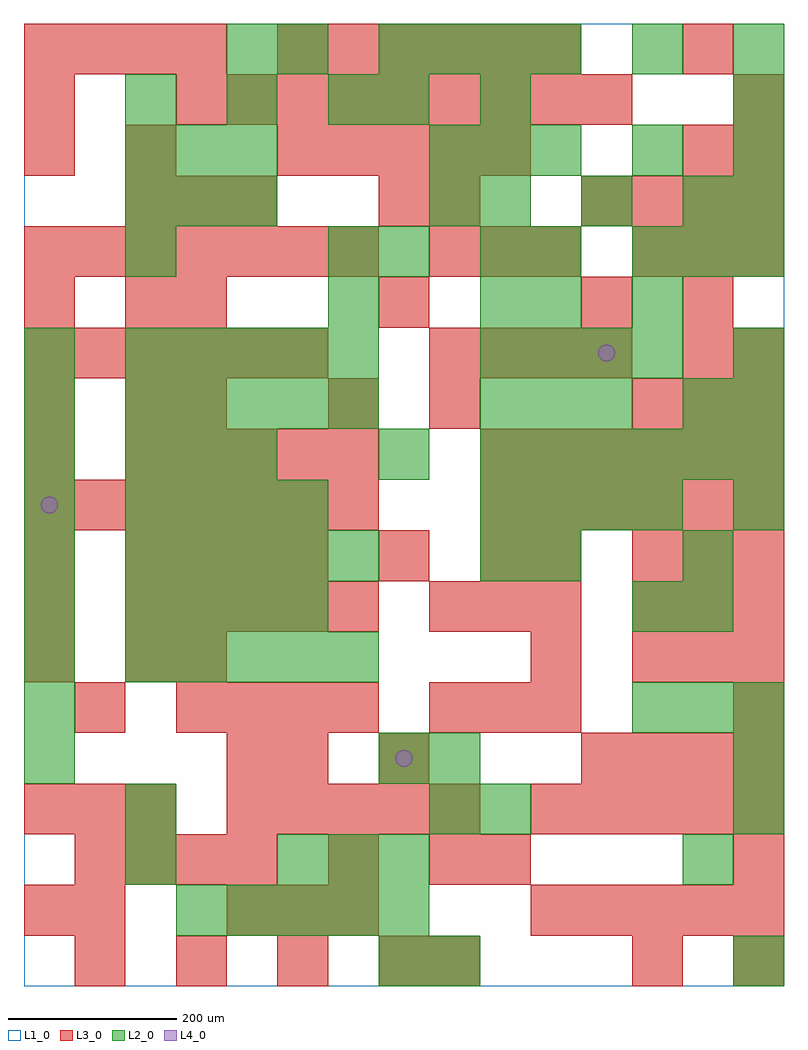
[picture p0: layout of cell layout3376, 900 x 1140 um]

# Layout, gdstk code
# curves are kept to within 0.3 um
import gdstk
lib = gdstk.Library(unit=1e-6, precision=1e-09)
def R(c, l, rs):  # rectangles x0, y0, x1, y1
    for r in rs: c.add(gdstk.rectangle(r[:2], r[2:], *l))
def A(c, l, x, y, w, h, nx, ny, dx, dy):  # array of equal rectangles
    R(c, l, [(x+i*dx, y+j*dy, x+i*dx+w, y+j*dy+h) for i in range(nx) for j in range(ny)])
def P(c, l, *ps):  # polygons
    for p in ps: c.add(gdstk.Polygon(p, *l))
L1_0 = (1, 0)
L2_0 = (2, 0)
L3_0 = (3, 0)
L4_0 = (4, 0)

layout3376 = lib.new_cell('layout3376')
R(layout3376, L1_0, [(0,0,900,1140)])
A(layout3376, L2_0, 180, 60, 60, 60, 5, 1, 60, 0)
A(layout3376, L2_0, 300, 120, 60, 60, 3, 1, 60, 0)
A(layout3376, L2_0, 540, 180, 60, 60, 1, 3, 0, 300)
A(layout3376, L2_0, 0, 240, 60, 60, 1, 9, 0, 60)
A(layout3376, L2_0, 720, 300, 60, 60, 3, 2, 60, 540)
A(layout3376, L2_0, 120, 360, 60, 60, 5, 2, 60, 120)
A(layout3376, L2_0, 120, 420, 60, 60, 4, 2, 60, 120)
A(layout3376, L2_0, 540, 540, 60, 60, 4, 2, 60, 180)
A(layout3376, L2_0, 120, 600, 60, 60, 3, 2, 60, 300)
A(layout3376, L2_0, 540, 600, 60, 60, 6, 1, 60, 0)
A(layout3376, L2_0, 120, 660, 60, 60, 5, 2, 60, 60)
A(layout3376, L2_0, 540, 660, 60, 60, 3, 1, 60, 0)
A(layout3376, L2_0, 540, 900, 60, 60, 3, 1, 120, 0)
A(layout3376, L2_0, 840, 900, 60, 60, 1, 4, 0, 60)
A(layout3376, L2_0, 120, 960, 60, 60, 3, 1, 60, 0)
A(layout3376, L2_0, 480, 960, 60, 60, 3, 1, 60, 0)
A(layout3376, L2_0, 120, 1020, 60, 60, 3, 1, 120, 0)
A(layout3376, L2_0, 420, 1080, 60, 60, 4, 1, 60, 0)
R(layout3376, L2_0, [(420,0,480,60), (480,0,540,60), (840,0,900,60), (120,120,180,180), (780,120,840,180), (120,180,180,240), (480,180,540,240), (840,180,900,240), (420,240,480,300), (480,240,540,300), (840,240,900,300), (720,420,780,480), (780,420,840,480), (600,480,660,540), (780,480,840,540), (840,540,900,600), (420,600,480,660), (780,660,840,720), (840,660,900,720), (840,720,900,780), (360,780,420,840), (600,780,660,840), (720,780,780,840), (120,840,180,900), (360,840,420,900), (420,840,480,900), (540,840,600,900), (600,840,660,900), (480,900,540,960), (720,960,780,1020), (420,1020,480,1080), (540,1020,600,1080), (240,1080,300,1140), (300,1080,360,1140), (720,1080,780,1140)])
A(layout3376, L3_0, 60, 0, 60, 60, 4, 1, 120, 0)
A(layout3376, L3_0, 240, 60, 60, 60, 3, 1, 60, 0)
A(layout3376, L3_0, 600, 60, 60, 60, 5, 2, 60, 120)
A(layout3376, L3_0, 60, 120, 60, 60, 4, 1, 60, 0)
A(layout3376, L3_0, 0, 180, 60, 60, 3, 1, 60, 0)
A(layout3376, L3_0, 240, 180, 60, 60, 5, 1, 60, 0)
A(layout3376, L3_0, 660, 240, 60, 60, 4, 2, 60, 660)
A(layout3376, L3_0, 180, 300, 60, 60, 4, 1, 60, 0)
A(layout3376, L3_0, 480, 300, 60, 60, 3, 2, 60, 120)
A(layout3376, L3_0, 0, 360, 60, 60, 1, 3, 0, 60)
A(layout3376, L3_0, 720, 360, 60, 60, 3, 3, 60, 60)
A(layout3376, L3_0, 120, 420, 60, 60, 5, 2, 60, 180)
A(layout3376, L3_0, 120, 480, 60, 60, 4, 1, 60, 0)
A(layout3376, L3_0, 0, 540, 60, 60, 7, 2, 60, 300)
A(layout3376, L3_0, 540, 540, 60, 60, 6, 2, 60, 60)
A(layout3376, L3_0, 720, 660, 60, 60, 3, 2, 60, 180)
A(layout3376, L3_0, 0, 720, 60, 60, 6, 1, 60, 0)
A(layout3376, L3_0, 480, 720, 60, 60, 4, 1, 60, 0)
A(layout3376, L3_0, 180, 780, 60, 60, 3, 1, 240, 0)
A(layout3376, L3_0, 480, 840, 60, 60, 3, 1, 60, 0)
A(layout3376, L3_0, 120, 900, 60, 60, 3, 1, 60, 0)
A(layout3376, L3_0, 300, 960, 60, 60, 5, 1, 60, 0)
A(layout3376, L3_0, 180, 1020, 60, 60, 9, 1, 60, 0)
A(layout3376, L3_0, 0, 1080, 60, 60, 4, 1, 60, 0)
A(layout3376, L3_0, 300, 1080, 60, 60, 6, 1, 60, 0)
R(layout3376, L3_0, [(480,0,540,60), (720,0,780,60), (840,0,900,60), (0,60,60,120), (60,60,120,120), (360,120,420,180), (480,120,540,180), (540,120,600,180), (840,120,900,180), (240,240,300,300), (300,240,360,300), (420,240,480,300), (60,300,120,360), (840,300,900,360), (120,360,180,420), (180,360,240,420), (600,360,660,420), (420,480,480,540), (540,480,600,540), (600,480,660,540), (0,600,60,660), (0,660,60,720), (120,660,180,720), (180,660,240,720), (360,660,420,720), (480,660,540,720), (780,720,840,780), (840,720,900,780), (0,780,60,840), (120,780,180,840), (780,780,840,840), (420,900,480,960), (480,900,540,960), (0,960,60,1020), (120,960,180,1020), (780,960,840,1020), (840,960,900,1020), (0,1020,60,1080), (840,1020,900,1080), (780,1080,840,1140)])
P(layout3376, L4_0, [(40,570),(39.239,573.827),(37.071,577.071),(33.827,579.239),(30,580),(26.173,579.239),(22.929,577.071),(20.761,573.827),(20,570),(20.761,566.173),(22.929,562.929),(26.173,560.761),(30,560),(33.827,560.761),(37.071,562.929),(39.239,566.173)],
  [(460,270),(459.239,273.827),(457.071,277.071),(453.827,279.239),(450,280),(446.173,279.239),(442.929,277.071),(440.761,273.827),(440,270),(440.761,266.173),(442.929,262.929),(446.173,260.761),(450,260),(453.827,260.761),(457.071,262.929),(459.239,266.173)],
  [(700,750),(699.239,753.827),(697.071,757.071),(693.827,759.239),(690,760),(686.173,759.239),(682.929,757.071),(680.761,753.827),(680,750),(680.761,746.173),(682.929,742.929),(686.173,740.761),(690,740),(693.827,740.761),(697.071,742.929),(699.239,746.173)])

lib.write_gds('layout3376.gds')
